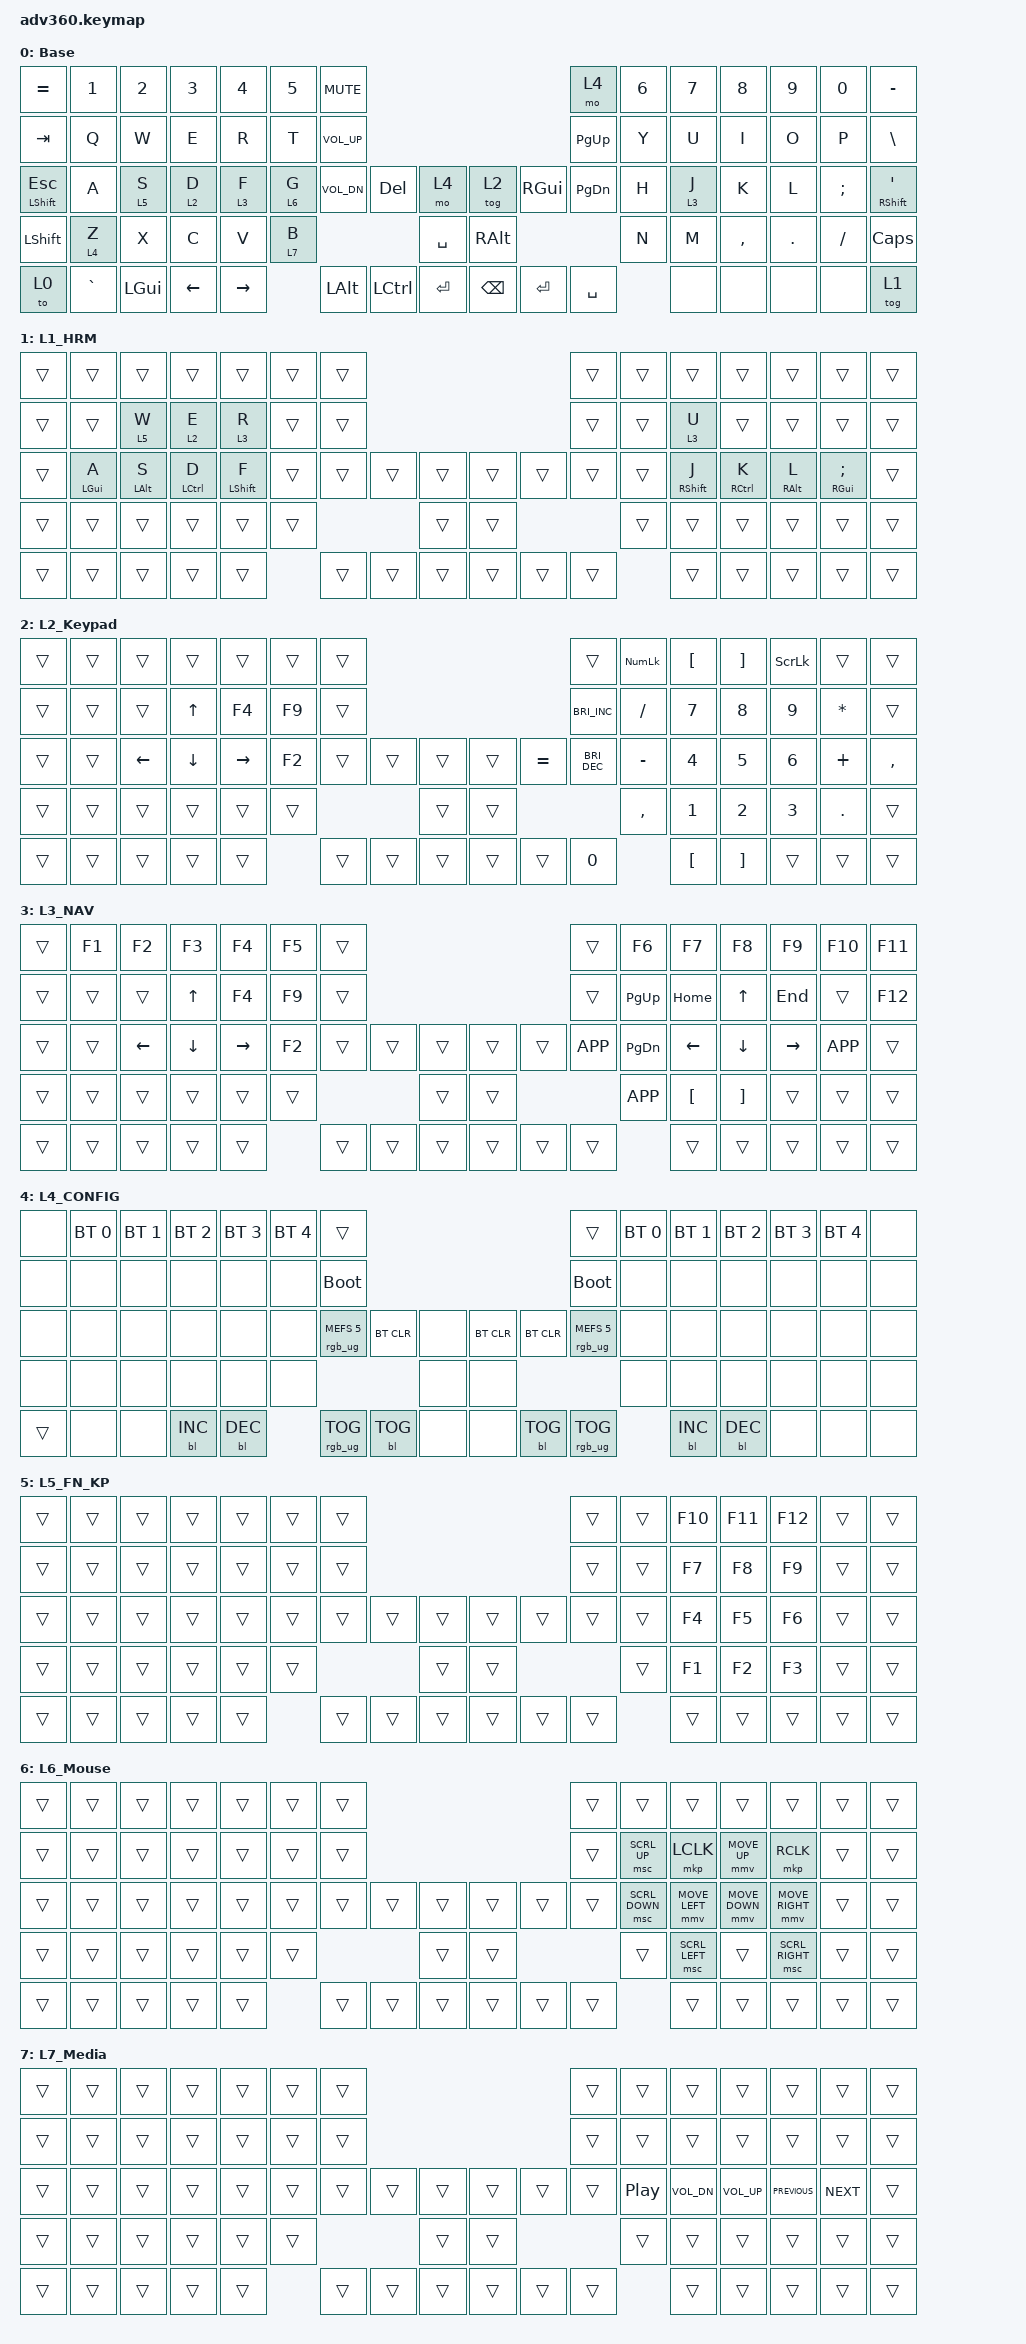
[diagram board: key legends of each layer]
#include <dt-bindings/zmk/stp.h>
#include <behaviors.dtsi>
#include <dt-bindings/zmk/backlight.h>
#include <dt-bindings/zmk/bt.h>
#include <dt-bindings/zmk/keys.h>
#include <dt-bindings/zmk/pointing.h>
#include <dt-bindings/zmk/rgb.h>

/ {
    behaviors {
        #include "macros.dtsi"
      #include "version.dtsi"

        hm: homerow_mods {
            compatible = "zmk,behavior-hold-tap";
            label = "HOMEROW_MODS";
            #binding-cells = <2>;
            tapping-term-ms = <200>;
            quick_tap_ms = <175>;
            flavor = "tap-preferred";
            bindings = <&kp>, <&kp>;
        };
    };

    combos {
        compatible = "zmk,combos";

        df_KeypadToggle {
            bindings = <&tog 2>;
            key-positions = <32 31>;
            layers = <0 2>;
        };

        fg_Mute {
            bindings = <&kp C_MUTE>;
            key-positions = <33 32>;
        };
    };

    keymap {
        compatible = "zmk,keymap";

        L0_Base_Layer {
            display-name = "Base";
            bindings = <
&kp EQUAL       &kp N1     &kp N2    &kp N3          &kp N4           &kp N5   &kp C_MUTE                                                        &mo 4          &kp N6  &kp N7   &kp N8     &kp N9   &kp N0    &kp MINUS
&kp TAB         &kp Q      &kp W     &kp E           &kp R            &kp T    &kp C_VOL_UP                                                      &kp PAGE_UP    &kp Y   &kp U    &kp I      &kp O    &kp P     &kp BSLH
&mt LSHIFT ESC  &kp A      &lt 5 S   &lt 2 D         &lt 3 F          &lt 6 G  &kp C_VOL_DN  &kp DELETE  &mo 4          &tog 2    &kp RIGHT_GUI  &kp PAGE_DOWN  &kp H   &lt 3 J  &kp K      &kp L    &kp SEMI  &mt RIGHT_SHIFT SQT
&kp LSHFT       &lt 4 Z    &kp X     &kp C           &kp V            &lt 7 B                            &kp SPACE      &kp RALT                                &kp N   &kp M    &kp COMMA  &kp DOT  &kp FSLH  &kp CAPS
&to 0           &kp GRAVE  &kp LGUI  &kp LEFT_ARROW  &kp RIGHT_ARROW           &kp LEFT_ALT  &kp LCTRL   &kp ENTER      &kp BSPC  &kp ENTER      &kp SPACE              &none    &none      &none    &none     &tog 1
            >;
        };

        L1_HRM {
            bindings = <
&trans  &trans          &trans          &trans              &trans            &trans  &trans                                      &trans  &trans  &trans             &trans               &trans           &trans                   &trans
&trans  &trans          &lt 5 W         &lt 2 E             &lt 3 R           &trans  &trans                                      &trans  &trans  &lt 3 U            &trans               &trans           &trans                   &trans
&trans  &mt LEFT_GUI A  &mt LEFT_ALT S  &mt LEFT_CONTROL D  &mt LEFT_SHIFT F  &trans  &trans  &trans  &trans      &trans  &trans  &trans  &trans  &mt RIGHT_SHIFT J  &mt RIGHT_CONTROL K  &mt RIGHT_ALT L  &mt RIGHT_GUI SEMICOLON  &trans
&trans  &trans          &trans          &trans              &trans            &trans                  &trans      &trans                  &trans  &trans             &trans               &trans           &trans                   &trans
&trans  &trans          &trans          &trans              &trans                    &trans  &trans  &trans      &trans  &trans  &trans          &trans             &trans               &trans           &trans                   &trans
            >;
        };

        L2_Keypad {
            bindings = <
&trans  &trans  &trans          &trans          &trans           &trans  &trans                                         &trans                &kp KP_NUM  &kp LEFT_BRACKET  &kp RIGHT_BRACKET  &kp SCROLLLOCK  &trans     &trans
&trans  &trans  &trans          &kp UP_ARROW    &kp F4           &kp F9  &trans                                         &kp C_BRIGHTNESS_INC  &kp FSLH    &kp N7            &kp N8             &kp N9          &kp ASTRK  &trans
&trans  &trans  &kp LEFT_ARROW  &kp DOWN_ARROW  &kp RIGHT_ARROW  &kp F2  &trans  &trans  &trans      &trans  &kp EQUAL  &kp C_BRIGHTNESS_DEC  &kp MINUS   &kp N4            &kp N5             &kp N6          &kp PLUS   &kp COMMA
&trans  &trans  &trans          &trans          &trans           &trans                  &trans      &trans                                   &kp COMMA   &kp N1            &kp N2             &kp N3          &kp DOT    &trans
&trans  &trans  &trans          &trans          &trans                   &trans  &trans  &trans      &trans  &trans     &kp N0                            &kp LBKT          &kp RBKT           &trans          &trans     &trans
            >;
        };

        L3_NAV {
            bindings = <
&trans  &kp F1  &kp F2          &kp F3          &kp F4           &kp F5  &trans                                      &trans     &kp F6         &kp F7          &kp F8          &kp F9           &kp F10    &kp F11
&trans  &trans  &trans          &kp UP_ARROW    &kp F4           &kp F9  &trans                                      &trans     &kp PAGE_UP    &kp HOME        &kp UP_ARROW    &kp END          &trans     &kp F12
&trans  &trans  &kp LEFT_ARROW  &kp DOWN_ARROW  &kp RIGHT_ARROW  &kp F2  &trans  &trans  &trans      &trans  &trans  &kp K_APP  &kp PAGE_DOWN  &kp LEFT_ARROW  &kp DOWN_ARROW  &kp RIGHT_ARROW  &kp K_APP  &trans
&trans  &trans  &trans          &trans          &trans           &trans                  &trans      &trans                     &kp K_APP      &kp LBKT        &kp RBKT        &trans           &trans     &trans
&trans  &trans  &trans          &trans          &trans                   &trans  &trans  &trans      &trans  &trans  &trans                    &trans          &trans          &trans           &trans     &trans
            >;
        };

        L4_CONFIG {
            bindings = <
&none   &bt BT_SEL 0  &bt BT_SEL 1  &bt BT_SEL 2  &bt BT_SEL 3  &bt BT_SEL 4  &trans                                                                 &trans                  &bt BT_SEL 0  &bt BT_SEL 1  &bt BT_SEL 2  &bt BT_SEL 3  &bt BT_SEL 4  &none
&none   &none         &none         &none         &none         &none         &bootloader                                                            &bootloader             &none         &none         &none         &none         &none         &none
&none   &none         &none         &none         &none         &none         &rgb_ug RGB_MEFS_CMD 5  &bt BT_CLR  &none      &bt BT_CLR  &bt BT_CLR  &rgb_ug RGB_MEFS_CMD 5  &none         &none         &none         &none         &none         &none
&none   &none         &none         &none         &none         &none                                             &none      &none                                           &none         &none         &none         &none         &none         &none
&trans  &none         &none         &bl BL_INC    &bl BL_DEC                  &rgb_ug RGB_TOG         &bl BL_TOG  &none      &none       &bl BL_TOG  &rgb_ug RGB_TOG                       &bl BL_INC    &bl BL_DEC    &none         &none         &none
            >;
        };

        L5_FN_KP {
            bindings = <
&trans  &trans  &trans  &trans  &trans  &trans  &trans                                      &trans  &trans  &kp F10  &kp F11  &kp F12  &trans  &trans
&trans  &trans  &trans  &trans  &trans  &trans  &trans                                      &trans  &trans  &kp F7   &kp F8   &kp F9   &trans  &trans
&trans  &trans  &trans  &trans  &trans  &trans  &trans  &trans  &trans      &trans  &trans  &trans  &trans  &kp F4   &kp F5   &kp F6   &trans  &trans
&trans  &trans  &trans  &trans  &trans  &trans                  &trans      &trans                  &trans  &kp F1   &kp F2   &kp F3   &trans  &trans
&trans  &trans  &trans  &trans  &trans          &trans  &trans  &trans      &trans  &trans  &trans          &trans   &trans   &trans   &trans  &trans
            >;
        };

        L6_Mouse {
            bindings = <
&trans  &trans  &trans  &trans  &trans  &trans  &trans                                      &trans  &trans          &trans          &trans          &trans           &trans  &trans
&trans  &trans  &trans  &trans  &trans  &trans  &trans                                      &trans  &msc SCRL_UP    &mkp LCLK       &mmv MOVE_UP    &mkp RCLK        &trans  &trans
&trans  &trans  &trans  &trans  &trans  &trans  &trans  &trans  &trans      &trans  &trans  &trans  &msc SCRL_DOWN  &mmv MOVE_LEFT  &mmv MOVE_DOWN  &mmv MOVE_RIGHT  &trans  &trans
&trans  &trans  &trans  &trans  &trans  &trans                  &trans      &trans                  &trans          &msc SCRL_LEFT  &trans          &msc SCRL_RIGHT  &trans  &trans
&trans  &trans  &trans  &trans  &trans          &trans  &trans  &trans      &trans  &trans  &trans                  &trans          &trans          &trans           &trans  &trans
            >;
        };

        L7_Media {
            bindings = <
&trans  &trans  &trans  &trans  &trans  &trans  &trans                                      &trans  &trans            &trans        &trans           &trans          &trans      &trans
&trans  &trans  &trans  &trans  &trans  &trans  &trans                                      &trans  &trans            &trans        &trans           &trans          &trans      &trans
&trans  &trans  &trans  &trans  &trans  &trans  &trans  &trans  &trans      &trans  &trans  &trans  &kp C_PLAY_PAUSE  &kp C_VOL_DN  &kp C_VOLUME_UP  &kp C_PREVIOUS  &kp C_NEXT  &trans
&trans  &trans  &trans  &trans  &trans  &trans                  &trans      &trans                  &trans            &trans        &trans           &trans          &trans      &trans
&trans  &trans  &trans  &trans  &trans          &trans  &trans  &trans      &trans  &trans  &trans                    &trans        &trans           &trans          &trans      &trans
            >;
        };
    };
};
